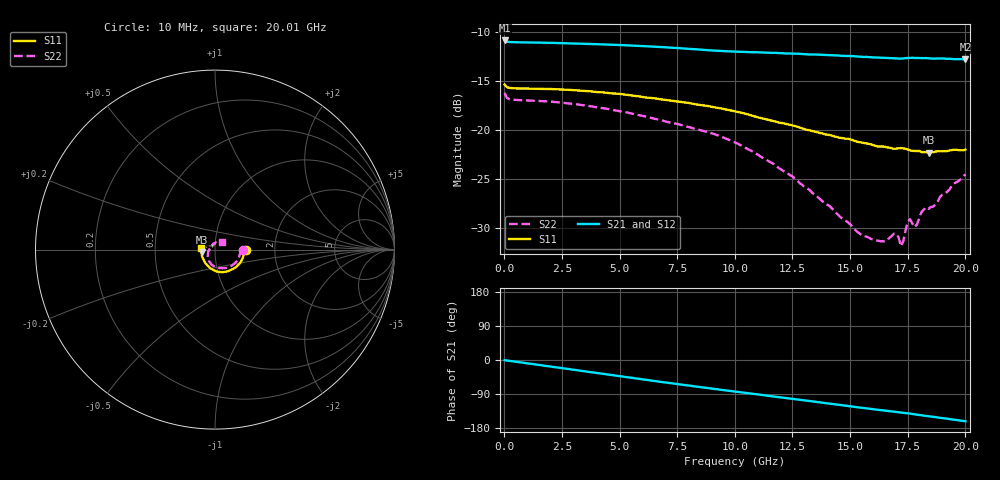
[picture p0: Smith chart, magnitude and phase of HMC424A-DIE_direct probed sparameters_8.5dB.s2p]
!s2p File: Measurements: S11, S21, S12, S22
# GHz S dB R 50.0
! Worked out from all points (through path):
!   201 points, 10 MHz to 20.01 GHz, reference 50 ohm
!   highest |S21| = -10.85 dB at 10 MHz (marker M1); lowest = -12.8 dB at 20.01 GHz (marker M2)
!   group delay of S21, straight-line fit = 22.2 ps
!   lowest |S11| = -22.3 dB at 18.41 GHz (marker M3), VSWR 1.17, Z = 43 - j1.38 ohm
!   |S11| at or under -10 dB: start of sweep to end of sweep
!   |S22| runs from -31.9 to -16.2 dB; largest |S21 - S12| = 0.002
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0.01  -15.35 -0.8  -10.85 -0.4  -10.86 -0.4  -16.21 -1.3
0.11  -15.62 -1.9  -10.98 -1.4  -10.98 -1.4  -16.72 -3.0
0.31  -15.72 -3.0  -11.02 -3.0  -11.02 -3.0  -16.89 -4.2
3.41  -16.00 -26.4  -11.19 -29.3  -11.18 -29.3  -17.47 -34.5
6.71  -16.84 -52.9  -11.51 -57.0  -11.51 -57.0  -18.94 -66.6
10.01  -18.09 -82.2  -11.98 -83.0  -11.99 -83.0  -21.26 -102.0
11.71  -19.10 -98.2  -12.11 -96.2  -12.13 -96.2  -23.51 -123.3
13.41  -20.12 -114.5  -12.28 -109.5  -12.30 -109.5  -26.51 -147.0
15.51  -21.28 -135.9  -12.53 -126.0  -12.51 -125.9  -30.77 168.2
16.31  -21.68 -144.9  -12.61 -132.1  -12.60 -131.9  -31.36 142.8
16.71  -21.80 -149.8  -12.64 -135.1  -12.63 -135.0  -31.02 131.4
17.01  -21.90 -152.2  -12.68 -137.2  -12.64 -137.2  -30.65 116.4
17.11  -21.87 -153.3  -12.71 -138.0  -12.65 -138.0  -30.97 110.8
17.21  -21.84 -154.6  -12.70 -138.6  -12.66 -138.8  -31.87 111.3
17.31  -21.88 -156.0  -12.69 -139.3  -12.68 -139.6  -31.40 114.4
17.51  -21.98 -158.3  -12.65 -140.8  -12.67 -141.2  -29.33 107.4
17.61  -22.08 -159.2  -12.63 -141.5  -12.67 -141.9  -29.13 99.8
17.81  -22.14 -160.5  -12.64 -143.3  -12.66 -143.4  -29.93 92.4
18.11  -22.26 -164.5  -12.65 -146.0  -12.70 -145.7  -28.35 88.6
18.31  -22.26 -166.9  -12.65 -147.6  -12.68 -147.4  -27.89 79.8
18.41  -22.31 -168.0  -12.67 -148.3  -12.69 -148.2  -28.06 76.7
20.01  -22.01 174.7  -12.79 -161.7  -12.77 -161.5  -24.53 49.4
